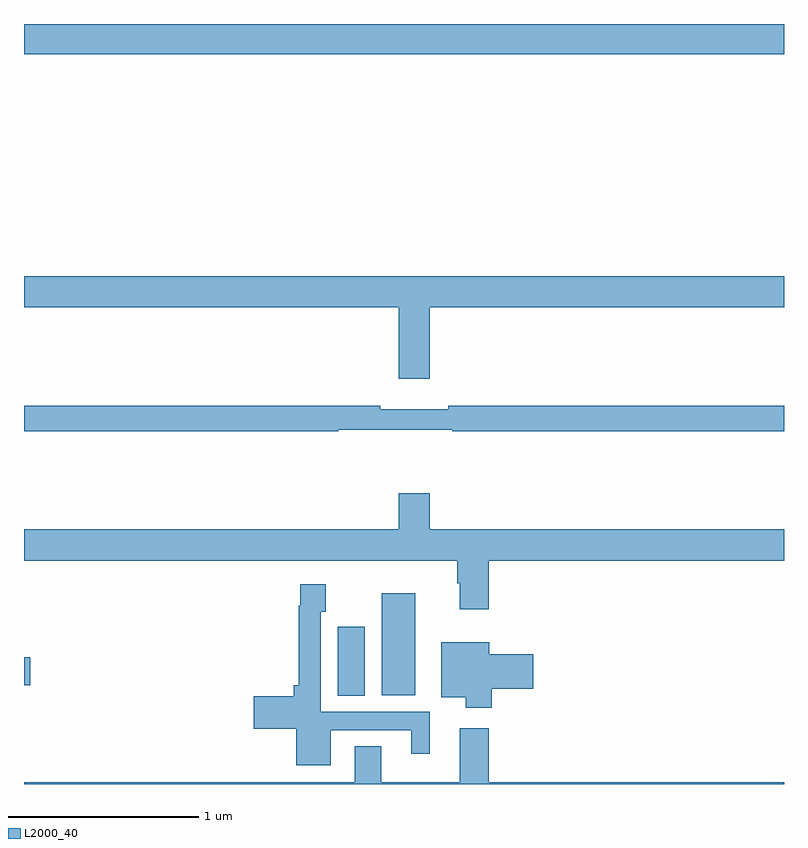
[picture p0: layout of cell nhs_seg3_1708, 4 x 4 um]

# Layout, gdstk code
import gdstk
lib = gdstk.Library(unit=1e-6, precision=1e-09)
def R(c, l, rs):  # rectangles x0, y0, x1, y1
    for r in rs: c.add(gdstk.rectangle(r[:2], r[2:], *l))
def P(c, l, *ps):  # polygons
    for p in ps: c.add(gdstk.Polygon(p, *l))
L2000_40 = (2000, 40)

nhs_seg3_1708 = lib.new_cell('nhs_seg3_1708')
R(nhs_seg3_1708, L2000_40, [(200.651,706.864,200.794,707.227), (200.882,706.868,201.058,707.404), (199,706.919,199.033,707.066), (199,710.24,203,710.4)])
P(nhs_seg3_1708, L2000_40, [(201.136,708.908),(203,708.908),(203,709.072),(199,709.072),(199,708.908),(200.972,708.908),(200.972,708.534),(201.136,708.534)],
  [(200.655,708.264),(201.255,708.264),(201.255,708.256),(203,708.256),(203,708.392),(201.232,708.392),(201.232,708.373),(200.876,708.373),(200.876,708.392),(199,708.392),(199,708.256),(200.655,708.256)],
  [(201.136,707.929),(200.972,707.929),(200.972,707.74),(199,707.74),(199,707.576),(201.281,707.576),(201.281,707.456),(201.293,707.456),(201.293,707.319),(201.446,707.319),(201.446,707.576),(203,707.576),(203,707.74),(201.136,707.74)],
  [(200.614,706.683),(201.038,706.683),(201.038,706.56),(201.136,706.56),(201.136,706.779),(200.562,706.779),(200.562,707.307),(200.589,707.307),(200.589,707.452),(200.454,707.452),(200.454,707.339),(200.446,707.339),(200.446,706.921),(200.42,706.921),(200.42,706.862),(200.208,706.862),(200.208,706.691),(200.432,706.691),(200.432,706.499),(200.614,706.499)],
  [(201.461,706.901),(201.679,706.901),(201.679,707.084),(201.448,707.084),(201.448,707.146),(201.197,707.146),(201.197,706.856),(201.326,706.856),(201.326,706.802),(201.461,706.802)],
  [(203,706.408),(201.446,706.408),(201.446,706.693),(201.293,706.693),(201.293,706.408),(200.881,706.408),(200.881,706.598),(200.741,706.598),(200.741,706.408),(199,706.408),(199,706.4),(203,706.4)])

lib.write_gds('nhs_seg3_1708.gds')
